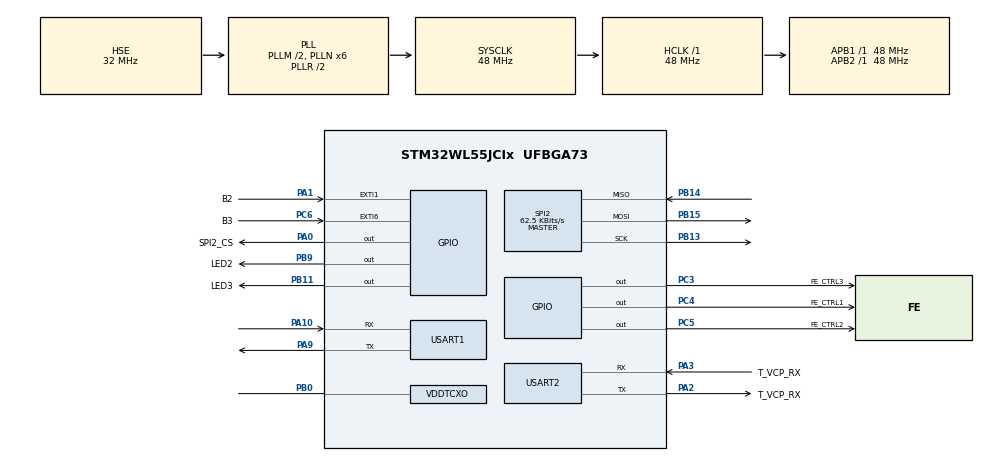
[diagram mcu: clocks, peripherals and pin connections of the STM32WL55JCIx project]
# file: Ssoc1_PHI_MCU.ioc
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ADC.Channel-0\#ChannelRegularConversion=ADC_CHANNEL_TEMPSENSOR
ADC.EnableRegularConversion=ENABLE
ADC.NbrOfConversion=1
ADC.NbrOfConversionFlag=1
ADC.Rank-0\#ChannelRegularConversion=1
ADC.SamplingTime-0\#ChannelRegularConversion=ADC_SAMPLINGTIME_COMMON_1
ADC.SamplingTimeCommon1=ADC_SAMPLETIME_160CYCLES_5
ADC.SelectedChannel=ADC_CHANNEL_TEMPSENSOR
Mcu.Family=STM32WL
Mcu.Name=STM32WL55JCIx
Mcu.Package=UFBGA73
NVIC.PriorityGroup=NVIC_PRIORITYGROUP_4
NVIC.USART1_IRQn=true\:0\:0\:false\:false\:true\:true\:true\:true
OSC_IN.Mode=HSE-TCXO
OSC_IN.Signal=RCC_OSC_IN
PA0.GPIO_Label=SPI2_CS
PA0.Signal=GPIO_Output
PA1.GPIO_Label=B2
PA1.GPIO_ModeDefaultEXTI=GPIO_MODE_IT_FALLING
PA1.GPIO_PuPd=GPIO_PULLUP
PA1.Signal=GPXTI1
PA10.Mode=Asynchronous
PA10.Signal=USART1_RX
PA2.GPIO_Label=T_VCP_RX
PA2.Mode=Asynchronous
PA2.Signal=USART2_TX
PA3.GPIO_Label=T_VCP_RX
PA3.Mode=Asynchronous
PA3.Signal=USART2_RX
PA9.Mode=Asynchronous
PA9.Signal=USART1_TX
PB0-VDD_TCXO.Mode=HSE-TCXO
PB0-VDD_TCXO.Signal=VDDTCXO
PB11.GPIO_Label=LED3
PB11.GPIO_Speed=GPIO_SPEED_FREQ_HIGH
PB11.Signal=GPIO_Output
PB13.Mode=Full_Duplex_Master
PB13.Signal=SPI2_SCK
PB14.Mode=Full_Duplex_Master
PB14.Signal=SPI2_MISO
PB15.Mode=Full_Duplex_Master
PB15.Signal=SPI2_MOSI
PB9.GPIO_FM9=__NULL
PB9.GPIO_Label=LED2
PB9.GPIO_Speed=GPIO_SPEED_FREQ_HIGH
PB9.Signal=GPIO_Output
PC14-OSC32_IN.Signal=RCC_OSC32_IN
PC15-OSC32_OUT.Signal=RCC_OSC32_OUT
PC3.GPIO_Label=FE_CTRL3
PC3.GPIO_Speed=GPIO_SPEED_FREQ_VERY_HIGH
PC3.Signal=GPIO_Output
PC4.GPIO_Label=FE_CTRL1
PC4.GPIO_Speed=GPIO_SPEED_FREQ_VERY_HIGH
PC4.Signal=GPIO_Output
PC5.GPIO_Label=FE_CTRL2
PC5.GPIO_Speed=GPIO_SPEED_FREQ_VERY_HIGH
PC5.Signal=GPIO_Output
PC6.GPIO_Label=B3
PC6.GPIO_ModeDefaultEXTI=GPIO_MODE_IT_FALLING
PC6.GPIO_PuPd=GPIO_PULLUP
PC6.Signal=GPXTI6
ProjectManager.HeapSize=0x200
ProjectManager.StackSize=0x400
ProjectManager.TargetToolchain=STM32CubeIDE
RCC.AHBFreq_Value=48000000
RCC.APB1Freq_Value=48000000
RCC.APB1TimFreq_Value=48000000
RCC.APB2Freq_Value=48000000
RCC.APB2TimFreq_Value=48000000
RCC.APB3Freq_Value=48000000
RCC.CortexFreq_Value=48000000
RCC.HCLKFreq_Value=48000000
RCC.HSE_VALUE=32000000
RCC.HSI_VALUE=16000000
RCC.LSE_VALUE=32768
RCC.PLLM=RCC_PLLM_DIV2
RCC.PLLN=6
RCC.PLLSourceVirtual=RCC_PLLSOURCE_HSE
RCC.SYSCLKFreq_VALUE=48000000
RCC.SYSCLKSource=RCC_SYSCLKSOURCE_PLLCLK
RCC.VCOOutputFreq_Value=96000000
RTC.Date=22
RTC.Month=RTC_MONTH_OCTOBER
RTC.WeekDay=RTC_WEEKDAY_SUNDAY
RTC.Year=23
SPI2.BaudRatePrescaler=SPI_BAUDRATEPRESCALER_256
SPI2.CalculateBaudRate=62.5 KBits/s
SPI2.DataSize=SPI_DATASIZE_8BIT
SPI2.Direction=SPI_DIRECTION_2LINES
SPI2.Mode=SPI_MODE_MASTER
SPI2.VirtualType=VM_MASTER
TIM1.Period=1000-1
TIM1.Prescaler=48-1
TIM1.TIM_MasterSlaveMode=TIM_MASTERSLAVEMODE_DISABLE
USART1.VirtualMode-Asynchronous=VM_ASYNC
USART2.VirtualMode-Asynchronous=VM_ASYNC
VP_ADC_TempSens_Input.Mode=IN-TempSens
VP_RTC_VS_RTC_Activate.Mode=RTC_Enabled
VP_RTC_VS_RTC_Calendar.Mode=RTC_Calendar
VP_TIM1_VS_ClockSourceINT.Mode=Internal
board=NUCLEO-WL55JC2

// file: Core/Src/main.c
/* USER CODE BEGIN Header */
/**
 ******************************************************************************
 * @file           : main.c
 * @brief          : Main program body
 ******************************************************************************
 * @attention
 *
 * Copyright (c) 2023 STMicroelectronics.
 * All rights reserved.
 *
 * This software is licensed under terms that can be found in the LICENSE file
 * in the root directory of this software component.
 * If no LICENSE file comes with this software, it is provided AS-IS.
 *
 ******************************************************************************
 */
/* USER CODE END Header */
#include "main.h"

/* USER CODE BEGIN Includes */
#include "com_debug.h"
#include "obc_interface.h"
#include "rtc.h"
#include "adc.h"
#include "s_flash_mem.h"
#include "stdio.h"
#include "string.h"
/* USER CODE END Includes */

/* USER CODE BEGIN PTD */
#define PayLoadLength		(32)
/* USER CODE END PTD */

ADC_HandleTypeDef hadc;

RTC_HandleTypeDef hrtc;

SPI_HandleTypeDef hspi2;

TIM_HandleTypeDef htim1;

UART_HandleTypeDef huart1;
UART_HandleTypeDef huart2;

/* USER CODE BEGIN PV */
uint8_t txBuffer[PayLoadLength];
uint8_t rxData[PayLoadLength];

uint8_t pkt_id;
DEVICE_ID FM_ID;
uint32_t present_address;

uint32_t NACK = 0xFAACEEF;
uint32_t MSN_CMP = 0xFACACAAF;
uint8_t END_MSN[10];
uint8_t MSN_ERR[10];

/* USER CODE END PV */

void SystemClock_Config(void);
static void MX_GPIO_Init(void);
static void MX_USART1_UART_Init(void);
static void MX_USART2_UART_Init(void);
static void MX_TIM1_Init(void);
static void MX_RTC_Init(void);
static void MX_ADC_Init(void);
static void MX_SPI2_Init(void);
/* USER CODE BEGIN PFP */
void setDataToBeTransmitted();
void EOM();
void MSN_Error();
/* USER CODE END PFP */

/* USER CODE BEGIN 0 */

void setDataToBeTransmitted() {
	uint8_t temp_count = 0;
	uint8_t temp_sensor[30];

	setTime(MAIN_CMD[8], MAIN_CMD[9], MAIN_CMD[10], MAIN_CMD[11], MAIN_CMD[12],
			MAIN_CMD[13]);

	while (temp_count < 30) {
		if (ReadTemperature() > 0)
			temp_sensor[temp_count] = ReadTemperature();
		delay_us(10);
		temp_count++;
	}

	getTime();

	txBuffer[0] = 0xBA;
	txBuffer[1] = 0x01;
	txBuffer[2] = pkt_id;
	txBuffer[3] = gDate.Year;
	txBuffer[4] = gDate.Month;
	txBuffer[5] = gDate.WeekDay;
	txBuffer[6] = gTime.Hours;
	txBuffer[7] = gTime.Minutes;
	txBuffer[8] = gTime.Seconds;
	int j = 0;
	for (int i = 9; i <= 28; i += 2) {
		txBuffer[i] = 0xDA;
		txBuffer[i + 1] = temp_sensor[j];
		j++;
	}
	uint16_t _HK_SUM = 0;
	for (int i = 0; i <= 28; i++) {
		_HK_SUM += txBuffer[i];
	}
	txBuffer[29] = _HK_SUM >> 8;
	txBuffer[30] = _HK_SUM;
	txBuffer[31] = 0xFE;
	myPrintf("### Data to be stored:\n");
	for (int i = 0; i < PayLoadLength; i++) {
		myPrintf("%x ", txBuffer[i]);
	}
	myPrintf("\n");
}

void EOM() {
	//add ACK and Latest mission FM address
	END_MSN[0] = 0xBA;
	END_MSN[1] = MSN_CMP >> 24;
	END_MSN[2] = MSN_CMP >> 16;
	;
	END_MSN[3] = MSN_CMP >> 8;
	;
	END_MSN[4] = MSN_CMP;

	//SEND NEW FM ADDRESS;
	END_MSN[5] = MAIN_ADDR >> 24;
	END_MSN[6] = MAIN_ADDR >> 16;
	END_MSN[7] = MAIN_ADDR >> 8;
	END_MSN[8] = MAIN_ADDR;
	END_MSN[9] = 0xFE;

	// END of Mission
	HAL_UART_Transmit(&huart1, END_MSN, 10, 1000);
	myPrintf("### Sent End of mission data: ");
	for (int i = 0; i < 10; i++) {
		myPrintf("%x", END_MSN[i]);
	}
	myPrintf("\n");
	myPrintf("--> LoRa_Mission_Execution Complete and Packet count is %x\r\n",
			pkt_id);
	memset(END_MSN, '\0', 10);
}

void MSN_Error() {
	MSN_ERR[0] = 0xBA;
	MSN_ERR[1] = NACK >> 24;
	MSN_ERR[2] = NACK >> 16;
	;
	MSN_ERR[3] = NACK >> 8;
	;
	MSN_ERR[4] = NACK;

//SEND NEW FM ADDRESS;
	MSN_ERR[5] = MAIN_ADDR >> 24;
	MSN_ERR[6] = MAIN_ADDR >> 16;
	MSN_ERR[7] = MAIN_ADDR >> 8;
	MSN_ERR[8] = MAIN_ADDR;
	MSN_ERR[9] = 0xFE;

// END of Mission
	HAL_UART_Transmit(&huart1, MSN_ERR, 10, 1000);
	myPrintf("### Sent Mission error data: ");
	for (int i = 0; i < 10; i++) {
		myPrintf("%x", MSN_ERR[i]);
	}
	myPrintf("\n");
	myPrintf("#### MAIN and LoRa MCU ACK FAILED___ RESET #### \n ");
	memset(MSN_ERR, '\0', 10);
}

/* USER CODE END 0 */

int main(void) {

	/* MCU Configuration--------------------------------------------------------*/

	/* Reset of all peripherals, Initializes the Flash interface and the Systick. */
	HAL_Init();

	/* Configure the system clock */
	SystemClock_Config();

	/* Initialize all configured peripherals */
	MX_GPIO_Init();
	MX_USART1_UART_Init();
	MX_USART2_UART_Init();
	MX_TIM1_Init();
	MX_RTC_Init();
	MX_ADC_Init();
	MX_SPI2_Init();
	/* USER CODE BEGIN 2 */
	HAL_TIM_Base_Start(&htim1);

	myPrintf("__________LoRa Starting.......###\r\n\n");
	pkt_id = 0;

	/* USER CODE END 2 */

	/* Infinite loop */
	/* USER CODE BEGIN WHILE */

	while (1) {
		delay_us(999);
		delay_us(999);
		myPrintf("\n### Waiting For HANDSHAKE Command ###\r\n");
		WAIT_FOR_HANDSHAKE();
		myPrintf("### Waiting to receive CMD from OBC.....\n");
		Receive_MAIN_CMD();
		delay_us(1);
		Execute_MAIN_CMD();
		delay_us(1);
		myPrintf("--> MCU_ID: 0x%x\n", MCU_ID);
		myPrintf("--> Flash address: 0x%x\n", MAIN_ADDR);
		myPrintf("--> Mission Time %d/%d/%d %d:%d:%d \n", MAIN_CMD[8],
				MAIN_CMD[9], MAIN_CMD[10], MAIN_CMD[11], MAIN_CMD[12],
				MAIN_CMD[13]);

		setDataToBeTransmitted();

		Read_ID(&hspi2, &FM_ID);
		delay_us(1);

		present_address = MAIN_ADDR;

		myPrintf("### Storing HK Data in : 0x%x \n", present_address);
		Page_Write(&hspi2, present_address, txBuffer, PayLoadLength);
		delay_us(1);
		myPrintf("### Checking if data is stored or not, in : 0x%x \n",
				present_address);
		myPrintf("--> Stored Data : \n");
		Bulk_Read(&hspi2, present_address, rxData, PayLoadLength);
		delay_us(1);
		for (int i = 0; i < PayLoadLength; i++) {
			myPrintf("%x ", rxData[i]);
		}
		myPrintf("\n");
		MAIN_ADDR += 32;
		pkt_id++;
		EOM();
		memset(txBuffer, '\0', PayLoadLength);
		memset(rxData, '\0', PayLoadLength);
		memset(MAIN_CMD, '\0', 15);
		delay_us(999);
		delay_us(999);
	}

	/* USER CODE END WHILE */

}

void SystemClock_Config(void) {
	RCC_OscInitTypeDef RCC_OscInitStruct = { 0 };
	RCC_ClkInitTypeDef RCC_ClkInitStruct = { 0 };

	/** Configure the main internal regulator output voltage
	 */
	__HAL_PWR_VOLTAGESCALING_CONFIG(PWR_REGULATOR_VOLTAGE_SCALE1);

	/** Initializes the CPU, AHB and APB buses clocks
	 */
	RCC_OscInitStruct.OscillatorType = RCC_OSCILLATORTYPE_HSI
			| RCC_OSCILLATORTYPE_LSI | RCC_OSCILLATORTYPE_HSE;
	RCC_OscInitStruct.HSEState = RCC_HSE_BYPASS_PWR;
	RCC_OscInitStruct.HSIState = RCC_HSI_ON;
	RCC_OscInitStruct.HSICalibrationValue = RCC_HSICALIBRATION_DEFAULT;
	RCC_OscInitStruct.LSIDiv = RCC_LSI_DIV1;
	RCC_OscInitStruct.HSEDiv = RCC_HSE_DIV1;
	RCC_OscInitStruct.LSIState = RCC_LSI_ON;
	RCC_OscInitStruct.PLL.PLLState = RCC_PLL_ON;
	RCC_OscInitStruct.PLL.PLLSource = RCC_PLLSOURCE_HSE;
	RCC_OscInitStruct.PLL.PLLM = RCC_PLLM_DIV2;
	RCC_OscInitStruct.PLL.PLLN = 6;
	RCC_OscInitStruct.PLL.PLLP = RCC_PLLP_DIV2;
	RCC_OscInitStruct.PLL.PLLR = RCC_PLLR_DIV2;
	RCC_OscInitStruct.PLL.PLLQ = RCC_PLLQ_DIV2;
	if (HAL_RCC_OscConfig(&RCC_OscInitStruct) != HAL_OK) {
		Error_Handler();
	}

	/** Configure the SYSCLKSource, HCLK, PCLK1 and PCLK2 clocks dividers
	 */
	RCC_ClkInitStruct.ClockType = RCC_CLOCKTYPE_HCLK3 | RCC_CLOCKTYPE_HCLK
			| RCC_CLOCKTYPE_SYSCLK | RCC_CLOCKTYPE_PCLK1 | RCC_CLOCKTYPE_PCLK2;
	RCC_ClkInitStruct.SYSCLKSource = RCC_SYSCLKSOURCE_PLLCLK;
	RCC_ClkInitStruct.AHBCLKDivider = RCC_SYSCLK_DIV1;
	RCC_ClkInitStruct.APB1CLKDivider = RCC_HCLK_DIV1;
	RCC_ClkInitStruct.APB2CLKDivider = RCC_HCLK_DIV1;
	RCC_ClkInitStruct.AHBCLK3Divider = RCC_SYSCLK_DIV1;

	if (HAL_RCC_ClockConfig(&RCC_ClkInitStruct, FLASH_LATENCY_2) != HAL_OK) {
		Error_Handler();
	}
}

static void MX_ADC_Init(void) {

	ADC_ChannelConfTypeDef sConfig = { 0 };

	/** Configure the global features of the ADC (Clock, Resolution, Data Alignment and number of conversion)
	 */
	hadc.Instance = ADC;
	hadc.Init.ClockPrescaler = ADC_CLOCK_SYNC_PCLK_DIV2;
	hadc.Init.Resolution = ADC_RESOLUTION_12B;
	hadc.Init.DataAlign = ADC_DATAALIGN_RIGHT;
	hadc.Init.ScanConvMode = ADC_SCAN_DISABLE;
	hadc.Init.EOCSelection = ADC_EOC_SINGLE_CONV;
	hadc.Init.LowPowerAutoWait = DISABLE;
	hadc.Init.LowPowerAutoPowerOff = DISABLE;
	hadc.Init.ContinuousConvMode = DISABLE;
	hadc.Init.NbrOfConversion = 1;
	hadc.Init.DiscontinuousConvMode = DISABLE;
	hadc.Init.ExternalTrigConv = ADC_SOFTWARE_START;
	hadc.Init.ExternalTrigConvEdge = ADC_EXTERNALTRIGCONVEDGE_NONE;
	hadc.Init.DMAContinuousRequests = DISABLE;
	hadc.Init.Overrun = ADC_OVR_DATA_PRESERVED;
	hadc.Init.SamplingTimeCommon1 = ADC_SAMPLETIME_160CYCLES_5;
	hadc.Init.SamplingTimeCommon2 = ADC_SAMPLETIME_1CYCLE_5;
	hadc.Init.OversamplingMode = DISABLE;
	hadc.Init.TriggerFrequencyMode = ADC_TRIGGER_FREQ_HIGH;
	if (HAL_ADC_Init(&hadc) != HAL_OK) {
		Error_Handler();
	}

	/** Configure Regular Channel
	 */
	sConfig.Channel = ADC_CHANNEL_TEMPSENSOR;
	sConfig.Rank = ADC_REGULAR_RANK_1;
	sConfig.SamplingTime = ADC_SAMPLINGTIME_COMMON_1;
	if (HAL_ADC_ConfigChannel(&hadc, &sConfig) != HAL_OK) {
		Error_Handler();
	}

}

static void MX_RTC_Init(void) {

	RTC_TimeTypeDef sTime = { 0 };
	RTC_DateTypeDef sDate = { 0 };

	/** Initialize RTC Only
	 */
	hrtc.Instance = RTC;
	hrtc.Init.HourFormat = RTC_HOURFORMAT_24;
	hrtc.Init.AsynchPrediv = 127;
	hrtc.Init.SynchPrediv = 255;
	hrtc.Init.OutPut = RTC_OUTPUT_DISABLE;
	hrtc.Init.OutPutRemap = RTC_OUTPUT_REMAP_NONE;
	hrtc.Init.OutPutPolarity = RTC_OUTPUT_POLARITY_HIGH;
	hrtc.Init.OutPutType = RTC_OUTPUT_TYPE_OPENDRAIN;
	hrtc.Init.OutPutPullUp = RTC_OUTPUT_PULLUP_NONE;
	hrtc.Init.BinMode = RTC_BINARY_NONE;
	if (HAL_RTC_Init(&hrtc) != HAL_OK) {
		Error_Handler();
	}

	/** Initialize RTC and set the Time and Date
	 */
	sTime.Hours = 0x0;
	sTime.Minutes = 0x0;
	sTime.Seconds = 0x0;
	sTime.DayLightSaving = RTC_DAYLIGHTSAVING_NONE;
	sTime.StoreOperation = RTC_STOREOPERATION_RESET;
	if (HAL_RTC_SetTime(&hrtc, &sTime, RTC_FORMAT_BCD) != HAL_OK) {
		Error_Handler();
	}
	sDate.WeekDay = RTC_WEEKDAY_SUNDAY;
	sDate.Month = RTC_MONTH_OCTOBER;
	sDate.Date = 0x22;
	sDate.Year = 0x23;

	if (HAL_RTC_SetDate(&hrtc, &sDate, RTC_FORMAT_BCD) != HAL_OK) {
		Error_Handler();
	}

}

static void MX_SPI2_Init(void) {

	/* SPI2 parameter configuration*/
	hspi2.Instance = SPI2;
	hspi2.Init.Mode = SPI_MODE_MASTER;
	hspi2.Init.Direction = SPI_DIRECTION_2LINES;
	hspi2.Init.DataSize = SPI_DATASIZE_8BIT;
	hspi2.Init.CLKPolarity = SPI_POLARITY_LOW;
	hspi2.Init.CLKPhase = SPI_PHASE_1EDGE;
	hspi2.Init.NSS = SPI_NSS_SOFT;
	hspi2.Init.BaudRatePrescaler = SPI_BAUDRATEPRESCALER_256;
	hspi2.Init.FirstBit = SPI_FIRSTBIT_MSB;
	hspi2.Init.TIMode = SPI_TIMODE_DISABLE;
	hspi2.Init.CRCCalculation = SPI_CRCCALCULATION_DISABLE;
	hspi2.Init.CRCPolynomial = 7;
	hspi2.Init.CRCLength = SPI_CRC_LENGTH_DATASIZE;
	hspi2.Init.NSSPMode = SPI_NSS_PULSE_ENABLE;
	if (HAL_SPI_Init(&hspi2) != HAL_OK) {
		Error_Handler();
	}

}

static void MX_TIM1_Init(void) {

	TIM_ClockConfigTypeDef sClockSourceConfig = { 0 };
	TIM_MasterConfigTypeDef sMasterConfig = { 0 };

	htim1.Instance = TIM1;
	htim1.Init.Prescaler = 48 - 1;
	htim1.Init.CounterMode = TIM_COUNTERMODE_UP;
	htim1.Init.Period = 1000 - 1;
	htim1.Init.ClockDivision = TIM_CLOCKDIVISION_DIV1;
	htim1.Init.RepetitionCounter = 0;
	htim1.Init.AutoReloadPreload = TIM_AUTORELOAD_PRELOAD_DISABLE;
	if (HAL_TIM_Base_Init(&htim1) != HAL_OK) {
		Error_Handler();
	}
	sClockSourceConfig.ClockSource = TIM_CLOCKSOURCE_INTERNAL;
	if (HAL_TIM_ConfigClockSource(&htim1, &sClockSourceConfig) != HAL_OK) {
		Error_Handler();
	}
	sMasterConfig.MasterOutputTrigger = TIM_TRGO_RESET;
	sMasterConfig.MasterOutputTrigger2 = TIM_TRGO2_RESET;
	sMasterConfig.MasterSlaveMode = TIM_MASTERSLAVEMODE_DISABLE;
	if (HAL_TIMEx_MasterConfigSynchronization(&htim1, &sMasterConfig)
			!= HAL_OK) {
		Error_Handler();
	}

}

static void MX_USART1_UART_Init(void) {

	huart1.Instance = USART1;
	huart1.Init.BaudRate = 115200;
	huart1.Init.WordLength = UART_WORDLENGTH_8B;
	huart1.Init.StopBits = UART_STOPBITS_1;
	huart1.Init.Parity = UART_PARITY_NONE;
	huart1.Init.Mode = UART_MODE_TX_RX;
	huart1.Init.HwFlowCtl = UART_HWCONTROL_NONE;
	huart1.Init.OverSampling = UART_OVERSAMPLING_16;
	huart1.Init.OneBitSampling = UART_ONE_BIT_SAMPLE_DISABLE;
	huart1.Init.ClockPrescaler = UART_PRESCALER_DIV1;
	huart1.AdvancedInit.AdvFeatureInit = UART_ADVFEATURE_NO_INIT;
	if (HAL_UART_Init(&huart1) != HAL_OK) {
		Error_Handler();
	}
	if (HAL_UARTEx_SetTxFifoThreshold(&huart1, UART_TXFIFO_THRESHOLD_1_8)
			!= HAL_OK) {
		Error_Handler();
	}
	if (HAL_UARTEx_SetRxFifoThreshold(&huart1, UART_RXFIFO_THRESHOLD_1_8)
			!= HAL_OK) {
		Error_Handler();
	}
	if (HAL_UARTEx_DisableFifoMode(&huart1) != HAL_OK) {
		Error_Handler();
	}

}

static void MX_USART2_UART_Init(void) {

	huart2.Instance = USART2;
	huart2.Init.BaudRate = 115200;
	huart2.Init.WordLength = UART_WORDLENGTH_8B;
	huart2.Init.StopBits = UART_STOPBITS_1;
	huart2.Init.Parity = UART_PARITY_NONE;
	huart2.Init.Mode = UART_MODE_TX_RX;
	huart2.Init.HwFlowCtl = UART_HWCONTROL_NONE;
	huart2.Init.OverSampling = UART_OVERSAMPLING_16;
	huart2.Init.OneBitSampling = UART_ONE_BIT_SAMPLE_DISABLE;
	huart2.Init.ClockPrescaler = UART_PRESCALER_DIV1;
	huart2.AdvancedInit.AdvFeatureInit = UART_ADVFEATURE_NO_INIT;
	if (HAL_UART_Init(&huart2) != HAL_OK) {
		Error_Handler();
	}
	if (HAL_UARTEx_SetTxFifoThreshold(&huart2, UART_TXFIFO_THRESHOLD_1_8)
			!= HAL_OK) {
		Error_Handler();
	}
	if (HAL_UARTEx_SetRxFifoThreshold(&huart2, UART_RXFIFO_THRESHOLD_1_8)
			!= HAL_OK) {
		Error_Handler();
	}
	if (HAL_UARTEx_DisableFifoMode(&huart2) != HAL_OK) {
		Error_Handler();
	}

}

static void MX_GPIO_Init(void) {
	GPIO_InitTypeDef GPIO_InitStruct = { 0 };

	/* GPIO Ports Clock Enable */
	__HAL_RCC_GPIOB_CLK_ENABLE();
	__HAL_RCC_GPIOC_CLK_ENABLE();
	__HAL_RCC_GPIOA_CLK_ENABLE();

	/*Configure GPIO pin Output Level */
	HAL_GPIO_WritePin(GPIOB, LED2_Pin | LED3_Pin, GPIO_PIN_RESET);

	/*Configure GPIO pin Output Level */
	HAL_GPIO_WritePin(GPIOC, FE_CTRL3_Pin | FE_CTRL2_Pin | FE_CTRL1_Pin,
			GPIO_PIN_RESET);

	/*Configure GPIO pin Output Level */
	HAL_GPIO_WritePin(SPI2_CS_GPIO_Port, SPI2_CS_Pin, GPIO_PIN_RESET);

	/*Configure GPIO pins : LED2_Pin LED3_Pin */
	GPIO_InitStruct.Pin = LED2_Pin | LED3_Pin;
	GPIO_InitStruct.Mode = GPIO_MODE_OUTPUT_PP;
	GPIO_InitStruct.Pull = GPIO_NOPULL;
	GPIO_InitStruct.Speed = GPIO_SPEED_FREQ_HIGH;
	HAL_GPIO_Init(GPIOB, &GPIO_InitStruct);

	/*Configure GPIO pins : FE_CTRL3_Pin FE_CTRL2_Pin FE_CTRL1_Pin */
	GPIO_InitStruct.Pin = FE_CTRL3_Pin | FE_CTRL2_Pin | FE_CTRL1_Pin;
	GPIO_InitStruct.Mode = GPIO_MODE_OUTPUT_PP;
	GPIO_InitStruct.Pull = GPIO_NOPULL;
	GPIO_InitStruct.Speed = GPIO_SPEED_FREQ_VERY_HIGH;
	HAL_GPIO_Init(GPIOC, &GPIO_InitStruct);

	/*Configure GPIO pin : SPI2_CS_Pin */
	GPIO_InitStruct.Pin = SPI2_CS_Pin;
	GPIO_InitStruct.Mode = GPIO_MODE_OUTPUT_PP;
	GPIO_InitStruct.Pull = GPIO_NOPULL;
	GPIO_InitStruct.Speed = GPIO_SPEED_FREQ_LOW;
	HAL_GPIO_Init(SPI2_CS_GPIO_Port, &GPIO_InitStruct);

	/*Configure GPIO pin : B3_Pin */
	GPIO_InitStruct.Pin = B3_Pin;
	GPIO_InitStruct.Mode = GPIO_MODE_IT_FALLING;
	GPIO_InitStruct.Pull = GPIO_PULLUP;
	HAL_GPIO_Init(B3_GPIO_Port, &GPIO_InitStruct);

	/*Configure GPIO pin : B2_Pin */
	GPIO_InitStruct.Pin = B2_Pin;
	GPIO_InitStruct.Mode = GPIO_MODE_IT_FALLING;
	GPIO_InitStruct.Pull = GPIO_PULLUP;
	HAL_GPIO_Init(B2_GPIO_Port, &GPIO_InitStruct);

}

void Error_Handler(void) {
	/* USER CODE BEGIN Error_Handler_Debug */
	/* User can add his own implementation to report the HAL error return state */
	MSN_Error();
	__disable_irq();
	while (1) {
	}
	/* USER CODE END Error_Handler_Debug */
}
